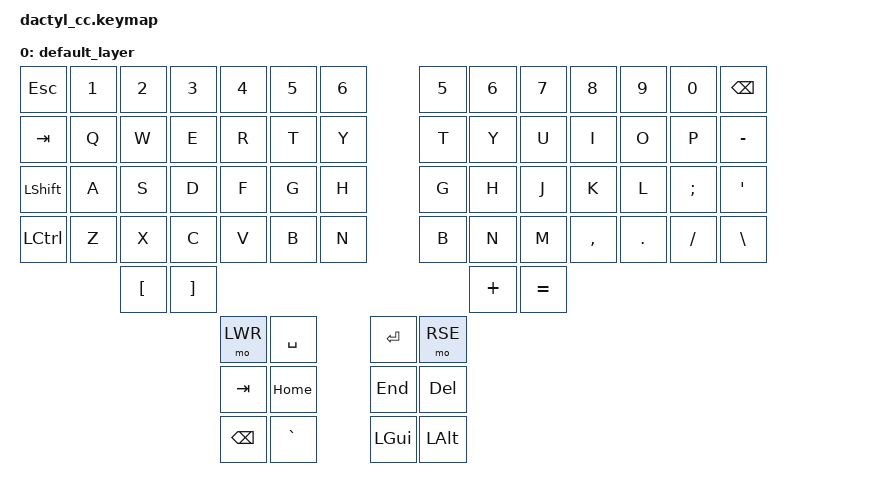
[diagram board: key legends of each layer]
#include <behaviors.dtsi>
#include <dt-bindings/zmk/keys.h>
#include <dt-bindings/zmk/bt.h>
#include <dt-bindings/zmk/outputs.h>

#define DEFAULT 0
#define MAC     1
#define LOWER   2
#define RAISE   3
#define ADJUST  4

#define HYPER(key) LS(LC(LA(LG(key))))
#define MEH(key)   LS(LC(LA(key)))

&sl {
    release-after-ms = <5000>;
};

&kscan0 {
    debounce-press-ms = <30>;
    debounce-release-ms = <30>;
};

/ {
    keymap {
        compatible = "zmk,keymap";

        default_layer {
            bindings = <
                &kp ESC   &kp N1 &kp N2 &kp N3 &kp N4 &kp N5 &kp N6              &kp N5 &kp N6 &kp N7 &kp N8    &kp N9  &kp N0   &kp BSPC
                &kp TAB   &kp Q  &kp W  &kp E  &kp R  &kp T  &kp Y               &kp T  &kp Y  &kp U  &kp I     &kp O   &kp P    &kp MINUS
                &kp LSHFT &kp A  &kp S  &kp D  &kp F  &kp G  &kp H               &kp G  &kp H  &kp J  &kp K     &kp L   &kp SEMI &kp SQT
                &kp LCTRL &kp Z  &kp X  &kp C  &kp V  &kp B  &kp N               &kp B  &kp N  &kp M  &kp COMMA &kp DOT &kp FSLH &kp BSLH
                                 &kp LBKT &kp RBKT                                       &kp PLUS &kp EQUAL
                                            &mo LWR  &kp SPACE            &kp RET  &mo RSE
                                            &kp TAB  &kp HOME             &kp END  &kp DEL
                                            &kp BSPC &kp GRAVE            &kp LGUI &kp LALT
            >;
        };
    };
};
